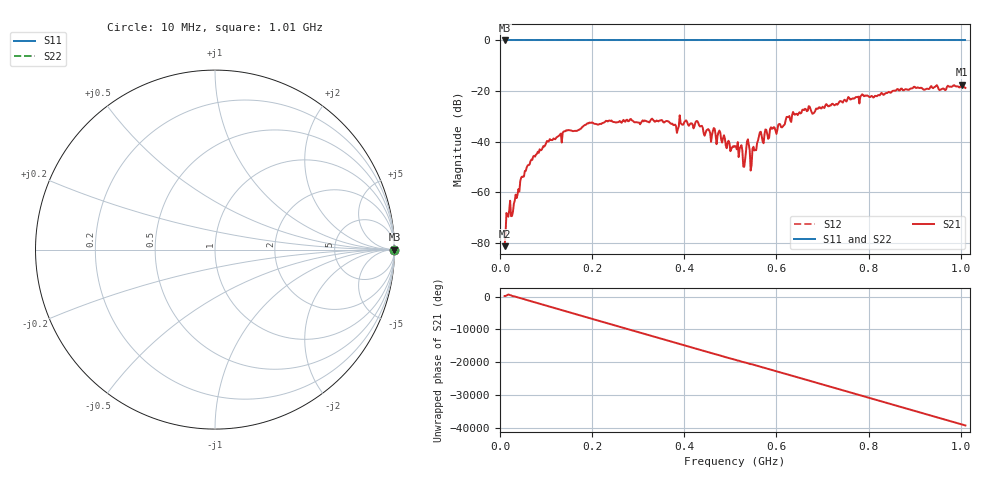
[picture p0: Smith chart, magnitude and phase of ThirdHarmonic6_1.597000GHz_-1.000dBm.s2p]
! 8/16/2025 7:02:16 PM
! C:\ANRITSUVNA\TEMP\TEMP.S2P
! CHANNEL.1
! TR.MEASUREMENT
! RAW.DATA
! RF.CORRECTION.OFF
! AVERAGING.OFF
! IF.BANDWIDTH: 5KHZ
! SWEEPTYPE:  FREQ.SWEEP(Linear)
! Reference Plane Port Info
! PORT:  PORT1  PORT2
! DISTANCE:  0  m  0  m
! TIME:  0  s  0  s
! PHASE.OFFSET:  0  deg.  0  deg.
! LOSS:  0  dB  0  dB
! REF.LOSS:  0  dB  0  dB
! REF.FREQ:  0  Hz  0  Hz
! Power Info
! POWER:  -20  dBm  -20  dBm
! EFF.POWER:  -20  dBm  -20  dBm
! SOURCE.ATTEN:  0  dB  0  dB
! TEST.ATTEN:  0  dB  0  dB
# GHZ S RI R 50.0
! FREQ.GHZ  S11RE  S11IM  S21RE  S21IM  S12RE  S12IM  S22RE  S22IM
!; PortSelection: Port_12
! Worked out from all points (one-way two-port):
!   501 points, 10 MHz to 1.01 GHz, reference 50 ohm
!   highest |S21| = -17.44 dB at 1.002 GHz (marker M1); lowest = -81.3 dB at 10 MHz (marker M2)
!   lowest |S11| = 0.0 dB at 10 MHz (marker M3)
!   |S11| at or under -10 dB: nowhere
!   |S22| runs from 0.0 to 0.0 dB; largest |S21 - S12| = 1.1
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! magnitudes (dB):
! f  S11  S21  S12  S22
! 10 MHz  0.0  -81.3  0.0  0.0
! 18 MHz  0.0  -69.7  0.0  0.0
! 28 MHz  0.0  -67.9  0.0  0.0
! 48 MHz  0.0  -53.8  0.0  0.0
! 70 MHz  0.0  -47.2  0.0  0.0
! 106 MHz  0.0  -39.8  0.0  0.0
! 178 MHz  0.0  -34.3  0.0  0.0
! 344 MHz  0.0  -32.0  0.0  0.0
! 384 MHz  0.0  -36.5  0.0  0.0
! 428 MHz  0.0  -31.8  0.0  0.0
! 510 MHz  0.0  -41.7  0.0  0.0
! 520 MHz  0.0  -42.8  0.0  0.0
! 530 MHz  0.0  -49.9  0.0  0.0
! 538 MHz  0.0  -39.1  0.0  0.0
! 548 MHz  0.0  -42.7  0.0  0.0
! 564 MHz  0.0  -36.3  0.0  0.0
! 614 MHz  0.0  -34.0  0.0  0.0
! 638 MHz  0.0  -29.1  0.0  0.0
! 678 MHz  0.0  -29.0  0.0  0.0
! 844 MHz  0.0  -20.3  0.0  0.0
! 1.002 GHz  0.0  -17.4  0.0  0.0
! 1.01 GHz  0.0  -18.8  0.0  0.0
